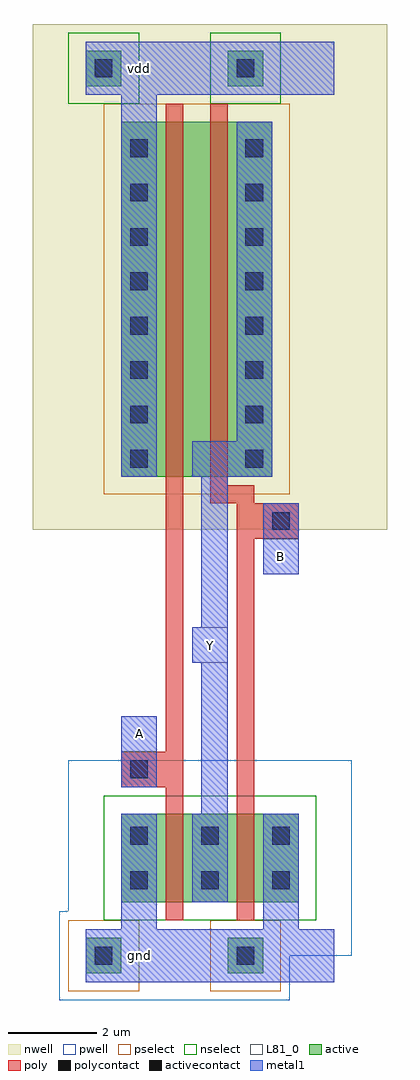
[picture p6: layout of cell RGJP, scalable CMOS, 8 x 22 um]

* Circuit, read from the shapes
.subckt RGJP A B Y gnd vdd
M1 Y A gnd gnd nfet w=2u l=0.4u
M2 gnd B Y gnd nfet w=2u l=0.4u
M3 n1 A vdd vdd pfet w=8u l=0.4u
M4 Y B n1 vdd pfet w=8u l=0.4u
.ends

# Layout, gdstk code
import gdstk
lib = gdstk.Library(unit=1e-6, precision=1e-09)
def R(c, l, rs):  # rectangles x0, y0, x1, y1
    for r in rs: c.add(gdstk.rectangle(r[:2], r[2:], *l))
def A(c, l, x, y, w, h, nx, ny, dx, dy):  # array of equal rectangles
    R(c, l, [(x+i*dx, y+j*dy, x+i*dx+w, y+j*dy+h) for i in range(nx) for j in range(ny)])
pwell = (41, 0)
nwell = (42, 0)
active = (43, 0)
pselect = (44, 0)
nselect = (45, 0)
poly = (46, 0)
polycontact = (47, 0)
activecontact = (48, 0)
metal1 = (49, 0)
L81_0 = (81, 0)

rgjp = lib.new_cell('RGJP')
R(rgjp, pwell, [(-1,-1,4.2,0), (-1,0,5.6,1), (-0.8,1,5.6,4.4)])
R(rgjp, nwell, [(-1.6,9.6,6.4,21)])
R(rgjp, active, [(-0.4,-0.4,0.4,0.4), (2.8,-0.4,3.6,0.4), (0.4,1.2,4.4,3.2), (0.4,10.8,3.8,18.8), (-0.4,19.6,0.4,20.4), (2.8,19.6,3.6,20.4)])
R(rgjp, pselect, [(-0.8,-0.8,0.8,0.8), (2.4,-0.8,4,0.8), (0,10.4,4.2,19.2)])
R(rgjp, nselect, [(0,0.8,4.8,3.6), (-0.8,19.2,0.8,20.8), (2.4,19.2,4,20.8)])
R(rgjp, poly, [(1.4,0.8,1.8,3.8), (3,0.8,3.4,9.4), (0.4,3.8,1.8,4.6), (1.4,4.6,1.8,19.2), (3,9.4,4.4,10.2), (2.4,10.2,3.4,10.6), (2.4,10.6,2.8,19.2)])
R(rgjp, polycontact, [(0.6,4,1,4.4), (3.8,9.6,4.2,10)])
A(rgjp, activecontact, 0.6, 1.5, 0.4, 0.4, 3, 2, 1.6, 1)
A(rgjp, activecontact, 0.6, 11, 0.4, 0.4, 1, 8, 0, 1)
A(rgjp, activecontact, 3.2, 11, 0.4, 0.4, 1, 8, 0, 1)
R(rgjp, activecontact, [(-0.2,-0.2,0.2,0.2), (3,-0.2,3.4,0.2), (-0.2,19.8,0.2,20.2), (3,19.8,3.4,20.2)])
R(rgjp, metal1, [(-0.4,-0.6,5.2,0.6), (0.4,0.6,1.2,3.2), (3.6,0.6,4.4,3.2), (2,1.2,2.8,3.2), (2.2,3.2,2.8,6.6), (0.4,3.8,1.2,5.4), (2,6.6,2.8,7.4), (2.2,7.4,2.8,10.8), (3.6,8.6,4.4,10.2), (0.4,10.8,1.2,19.4), (2,10.8,3.8,11.6), (3,11.6,3.8,18.8), (-0.4,19.4,5.2,20.6)])
R(rgjp, L81_0, [(0.4,4.6,1.2,5.4), (2,6.6,2.8,7.4), (3.6,8.6,4.4,9.4)])
rgjp.add(gdstk.Label('vdd', (0.8,20), layer=49, texttype=0))
rgjp.add(gdstk.Label('B', (4,9), layer=49, texttype=0))
rgjp.add(gdstk.Label('gnd', (0.8,0), layer=49, texttype=0))
rgjp.add(gdstk.Label('Y', (2.4,7), layer=49, texttype=0))
rgjp.add(gdstk.Label('A', (0.8,5), layer=49, texttype=0))

lib.write_gds('RGJP.gds')
